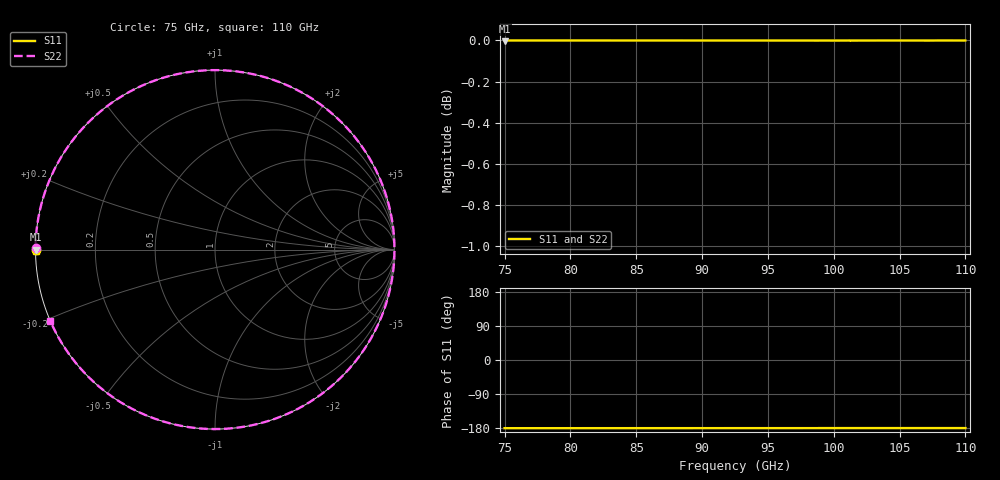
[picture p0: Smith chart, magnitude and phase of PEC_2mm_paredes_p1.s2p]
! TOUCHSTONE file generated by CST MICROWAVE STUDIO
! Date and time: Tue Feb 13 12:27:19 2024
! Project name: metal_paredes.cst
! Header version: 2018
! Port assignment regex: !\s*Touchstone port\s*([0-9]+)\s*=\s*(CST MWS port|CST DS port)\s*([0-9]+|Zmin|Zmax)\s*\(\"(.*)\"\)(\s*mode\s*([0-9]+))?.*
! Touchstone port assignment:
! Touchstone port 1 = CST MWS port 1 ("")
! Touchstone port 2 = CST MWS port 2 ("")
# GHz S MA R 376.7
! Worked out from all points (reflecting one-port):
!   1001 points, 75 GHz to 110 GHz, reference 376.7 ohm
!   lowest |S11| = 0.0 dB at 75 GHz (marker M1)
!   phase of S11 starts at -180 deg and turns +0 deg over the sweep
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75  0.9996 -179.9  0 0.0  0 0.0  0.9996 179.3
76.365  1 -179.9  3.599e-65 -180.0  3.599e-65 -180.0  1 166.2
77.8  1 -179.9  3.299e-65 -180.0  3.299e-65 -180.0  1 152.5
80.845  1 -179.9  2.6e-65 -180.0  2.6e-65 -180.0  1 123.2
82.35  1 -179.9  2.2e-65 -180.0  2.2e-65 -180.0  1 108.8
83.785  1 -179.9  1.8e-65 -180.0  1.8e-65 -180.0  1 95.0
85.22  1 -179.8  1.5e-65 -180.0  1.5e-65 -180.0  1 81.2
86.69  1 -179.8  1.2e-65 -180.0  1.2e-65 -180.0  1 67.1
88.195  1 -179.8  8e-66 -180.0  8e-66 -180.0  1 52.7
89.77  1 -179.8  5e-66 -180.0  5e-66 -180.0  1 37.5
92.5  1 -179.8  0 0.0  0 0.0  1 11.3
93.9  1 -179.8  3e-66 -0.0  3e-66 -0.0  1 -2.1
95.335  1 -179.8  5e-66 -0.0  5e-66 -0.0  1 -15.9
96.805  1 -179.8  8e-66 -0.0  8e-66 -0.0  1 -30.1
98.345  1 -179.8  1.2e-65 -0.0  1.2e-65 -0.0  1 -44.9
99.885  0.9999 -179.8  1.6e-65 -0.0  1.6e-65 -0.0  0.9999 -59.7
101.355  0.9999 -179.8  2e-65 -0.0  2e-65 -0.0  0.9999 -73.8
102.79  1 -179.8  2.3e-65 -0.0  2.3e-65 -0.0  0.9999 -87.6
104.19  0.9999 -179.8  2.5e-65 -0.0  2.5e-65 -0.0  0.9999 -101.0
106.85  1 -179.7  3.199e-65 -0.0  3.199e-65 -0.0  0.9999 -126.5
108.53  1 -179.7  3.499e-65 -0.0  3.499e-65 -0.0  1 -142.6
110  1 -179.6  0 0.0  0 0.0  1 -156.7
